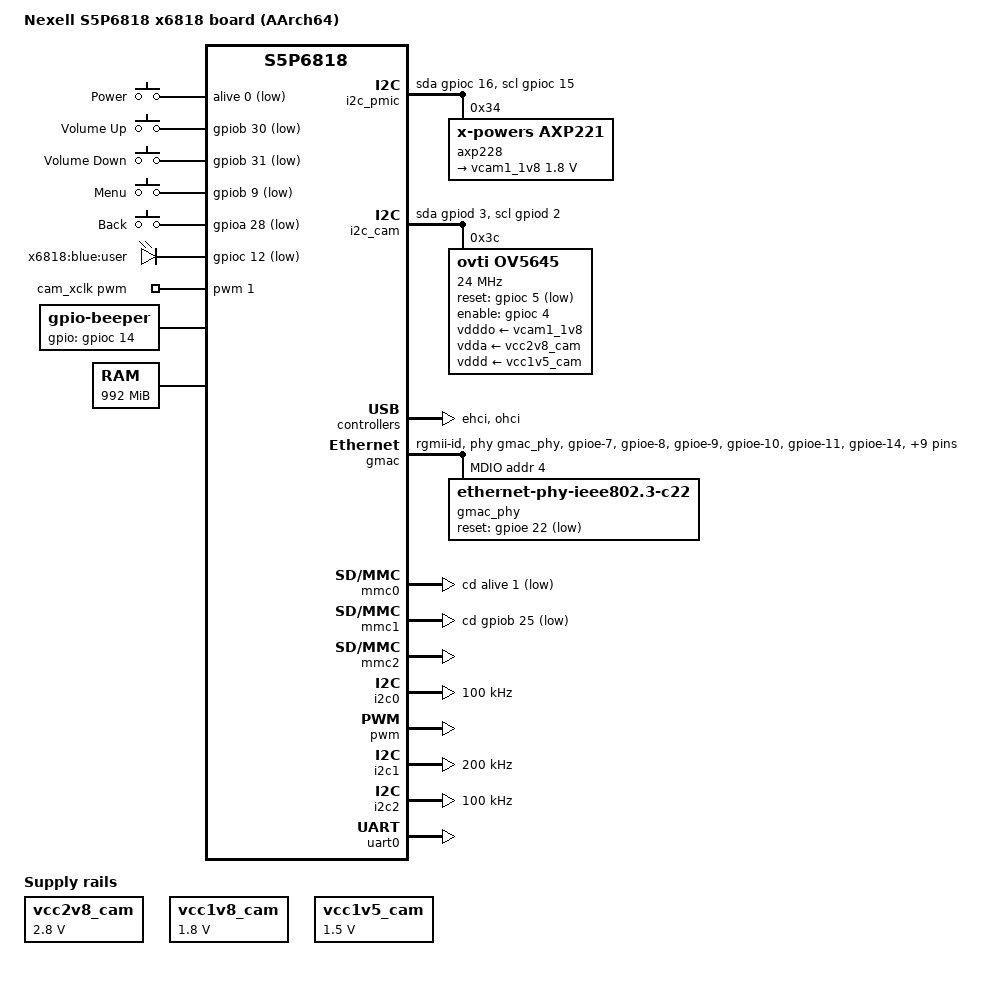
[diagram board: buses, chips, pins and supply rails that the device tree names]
// SPDX-License-Identifier: GPL-2.0-only

/dts-v1/;

#include <dt-bindings/input/input.h>
#include "s5p6818.dtsi"

/ {
	model = "Nexell S5P6818 x6818 board (AArch64)";
	compatible = "nexell,x6818", "nexell,s5p6818";

	aliases {
		ethernet0 = &gmac;
		mmc0 = &mmc2;
		mmc1 = &mmc0;
		mmc2 = &mmc1;
		serial0 = &uart0;
		i2c0 = &i2c0;
		i2c1 = &i2c1;
		i2c2 = &i2c2;
	};

	chosen {
		stdout-path = "serial0:115200n8";

		/* U-Boot initializes the MIPI pipeline and scans out from this FB. */
		framebuffer0: framebuffer {
			compatible = "simple-framebuffer";
			memory-region = <&x6818_framebuffer>;
			width = <1024>;
			height = <600>;
			stride = <4096>;
			format = "x8r8g8b8";
		};
	};

	gpio_keys: gpio-keys {
		compatible = "gpio-keys-polled";
		poll-interval = <50>;
		autorepeat;
		pinctrl-names = "default";
		pinctrl-0 = <&key_pins>;

		button-power {
			label = "Power";
			gpios = <&alive 0 GPIO_ACTIVE_LOW>;
			linux,code = <KEY_POWER>;
		};

		button-volup {
			label = "Volume Up";
			gpios = <&gpiob 30 GPIO_ACTIVE_LOW>;
			linux,code = <KEY_VOLUMEUP>;
		};

		button-voldn {
			label = "Volume Down";
			gpios = <&gpiob 31 GPIO_ACTIVE_LOW>;
			linux,code = <KEY_VOLUMEDOWN>;
		};

		button-menu {
			label = "Menu";
			gpios = <&gpiob 9 GPIO_ACTIVE_LOW>;
			linux,code = <KEY_MENU>;
		};

		button-back {
			label = "Back";
			gpios = <&gpioa 28 GPIO_ACTIVE_LOW>;
			linux,code = <KEY_BACK>;
		};
	};

	gpio_leds: leds {
		compatible = "gpio-leds";

		led0 {
			label = "x6818:blue:user";
			gpios = <&gpioc 12 GPIO_ACTIVE_LOW>;
			linux,default-trigger = "heartbeat";
			default-state = "off";
		};
	};

	vcc2v8_cam: regulator-vcc2v8 {
		compatible = "regulator-fixed";
		regulator-name = "vcc2v8_cam";
		regulator-min-microvolt = <2800000>;
		regulator-max-microvolt = <2800000>;
		regulator-always-on;
	};

	vcc1v8_cam: regulator-vcc1v8 {
		compatible = "regulator-fixed";
		regulator-name = "vcc1v8_cam";
		regulator-min-microvolt = <1800000>;
		regulator-max-microvolt = <1800000>;
		regulator-always-on;
	};

	vcc1v5_cam: regulator-vcc1v5 {
		compatible = "regulator-fixed";
		regulator-name = "vcc1v5_cam";
		regulator-min-microvolt = <1500000>;
		regulator-max-microvolt = <1500000>;
		regulator-always-on;
	};

	i2c_pmic: i2c-pmic {
		compatible = "i2c-gpio";
		sda-gpios = <&gpioc 16 (GPIO_ACTIVE_HIGH | GPIO_OPEN_DRAIN)>;
		scl-gpios = <&gpioc 15 (GPIO_ACTIVE_HIGH | GPIO_OPEN_DRAIN)>;
		i2c-gpio,delay-us = <5>;
		#address-cells = <1>;
		#size-cells = <0>;
		status = "okay";

		axp228: pmic@34 {
			compatible = "x-powers,axp221";
			reg = <0x34>;

			regulators {
				vcam1_1v8: dldo2 {
					regulator-name = "vcam1_1.8V";
					regulator-min-microvolt = <1800000>;
					regulator-max-microvolt = <1800000>;
					regulator-always-on;
					regulator-boot-on;
				};
			};
		};
	};

	cam_xclk: cam-xclk {
		compatible = "pwm-clock";
		#clock-cells = <0>;
		clock-frequency = <24000000>;
		clock-output-names = "cam_xclk";
		pwms = <&pwm 1 42 0>;
	};

	/*
	 * The S5P6818 hardware I2C controllers do not start transfers in
	 * the current platform state (registers alive only after an RSTCON
	 * pulse; START never toggles SCL), so the camera bus runs bit-banged
	 * on the same I2C0 pins, matching the vendor bootloader which also
	 * services its PMIC over i2c-gpio.
	 */
	i2c_cam: i2c-cam {
		compatible = "i2c-gpio";
		sda-gpios = <&gpiod 3 (GPIO_ACTIVE_HIGH | GPIO_OPEN_DRAIN)>;
		scl-gpios = <&gpiod 2 (GPIO_ACTIVE_HIGH | GPIO_OPEN_DRAIN)>;
		i2c-gpio,delay-us = <2>;
		#address-cells = <1>;
		#size-cells = <0>;
		status = "okay";

		ov5645: camera@3c {
			compatible = "ovti,ov5645";
			reg = <0x3c>;
			pinctrl-names = "default";
			pinctrl-0 = <&cam_pins>;
			clocks = <&cam_xclk>;
			clock-names = "xclk";
			clock-frequency = <24000000>;
			reset-gpios = <&gpioc 5 GPIO_ACTIVE_LOW>;
			enable-gpios = <&gpioc 4 GPIO_ACTIVE_HIGH>;
			vdddo-supply = <&vcam1_1v8>;
			vdda-supply = <&vcc2v8_cam>;
			vddd-supply = <&vcc1v5_cam>;
			status = "okay";

			port {
				ov5645_to_mipi: endpoint {
					data-lanes = <1 2>;
					clock-noncontinuous;
					link-frequencies = /bits/ 64 <210000000>;
				};
			};
		};
	};

	beeper: beeper {
		compatible = "gpio-beeper";
		gpios = <&gpioc 14 GPIO_ACTIVE_HIGH>;
	};

	ir_receiver: ir-receiver {
		compatible = "gpio-ir-receiver";
		gpios = <&gpiod 8 GPIO_ACTIVE_LOW>;
		linux,rc-map-name = "rc-rc6-mce";
		status = "disabled";
	};

	reserved-memory {
		#address-cells = <2>;
		#size-cells = <2>;
		ranges;

		x6818_framebuffer: framebuffer@46000000 {
			reg = <0x0 0x46000000 0x0 0x01000000>;
			no-map;
		};

		secure_firmware: firmware@7e000000 {
			reg = <0x0 0x7e000000 0x0 0x02000000>;
			no-map;
		};
	};

	memory@40000000 {
		device_type = "memory";
		reg = <0x0 0x40000000 0x0 0x3e000000>;
	};
};

&display {
	status = "disabled";
};

&ehci {
	status = "okay";
};

&gmac {
	max-speed = <1000>;
	phy-handle = <&gmac_phy>;
	phy-mode = "rgmii-id";
	pinctrl-names = "default";
	pinctrl-0 = <&gmac_rgmii_pins &gmac_phy_reset>;
	status = "okay";

	mdio {
		compatible = "snps,dwmac-mdio";
		#address-cells = <1>;
		#size-cells = <0>;

		gmac_phy: ethernet-phy@4 {
			compatible = "ethernet-phy-ieee802.3-c22";
			reg = <4>;
			reset-assert-us = <100>;
			reset-gpios = <&gpioe 22 GPIO_ACTIVE_LOW>;
		};
	};
};

&mmc0 {
	cd-gpios = <&alive 1 GPIO_ACTIVE_LOW>;
	cd-debounce-delay-ms = <100>;
	cap-sd-highspeed;
	disable-wp;
	status = "okay";
};

&mmc1 {
	cd-gpios = <&gpiob 25 GPIO_ACTIVE_LOW>;
	cd-debounce-delay-ms = <100>;
	cap-sd-highspeed;
	disable-wp;
	status = "okay";
};

&mmc2 {
	status = "okay";
};

&i2c0 {
	clock-frequency = <100000>;
	status = "okay";
};

&pwm {
	status = "okay";
};

&i2c1 {
	clock-frequency = <200000>;
	status = "okay";
};

&i2c2 {
	clock-frequency = <100000>;
	status = "okay";
};

&ohci {
	status = "okay";
};

&pinctrl {
	pinctrl-names = "default";
	pinctrl-0 = <&dp_rgb_pins>;

	dp_rgb_pins: dp-rgb-pins {
		nexell,pins = "gpioa-0", "gpioa-1", "gpioa-2", "gpioa-3",
			       "gpioa-4", "gpioa-5", "gpioa-6", "gpioa-7",
			       "gpioa-8", "gpioa-9", "gpioa-10", "gpioa-11",
			       "gpioa-12", "gpioa-13", "gpioa-14", "gpioa-15",
			       "gpioa-16", "gpioa-17", "gpioa-18", "gpioa-19",
			       "gpioa-20", "gpioa-21", "gpioa-22", "gpioa-23",
			       "gpioa-24", "gpioa-25", "gpioa-26", "gpioa-27";
		nexell,pin-function = <1>;
		nexell,pin-pull = <0>;
		nexell,pin-strength = <2>;
	};

	gmac_rgmii_pins: gmac-rgmii-pins {
		nexell,pins = "gpioe-7", "gpioe-8", "gpioe-9", "gpioe-10",
			       "gpioe-11", "gpioe-14", "gpioe-15", "gpioe-16",
			       "gpioe-17", "gpioe-18", "gpioe-19", "gpioe-20",
			       "gpioe-21", "gpioe-24";
		nexell,pin-function = <1>;
		nexell,pin-pull = <2>;
		nexell,pin-strength = <3>;
	};

	gmac_phy_reset: gmac-phy-reset-pins {
		nexell,pins = "gpioe-22";
		nexell,pin-function = <0>;
		nexell,pin-pull = <2>;
		nexell,pin-strength = <3>;
	};

	cam_pins: cam-pins {
		nexell,pins = "gpioc-4", "gpioc-5";
		nexell,pin-function = <0>;
		nexell,pin-pull = <0>;
		nexell,pin-strength = <0>;
	};
};

&uart0 {
	pinctrl-names = "default";
	pinctrl-0 = <&uart0_pins>;
	status = "okay";
};
